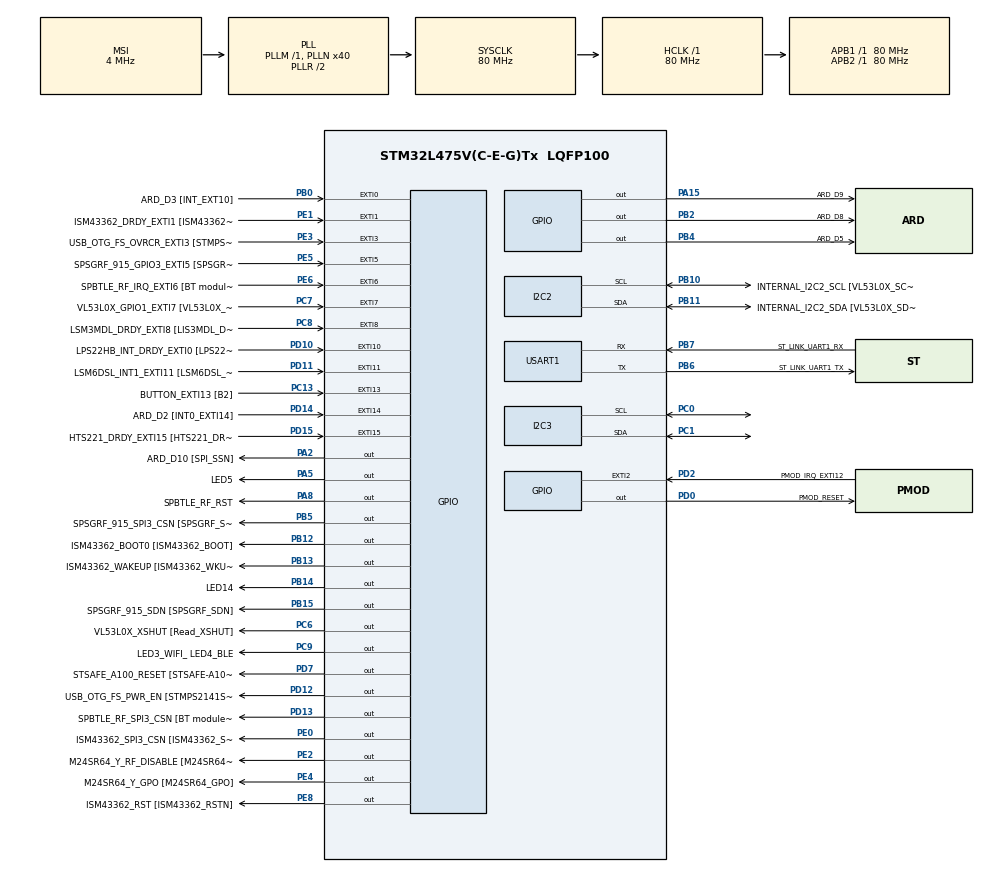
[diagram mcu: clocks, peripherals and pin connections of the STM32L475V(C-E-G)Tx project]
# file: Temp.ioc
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I2C2.Timing=0x10909CEC
I2C3.Timing=0x10909CEC
Mcu.Family=STM32L4
Mcu.Name=STM32L475V(C-E-G)Tx
Mcu.Package=LQFP100
NVIC.EXTI15_10_IRQn=true\:0\:0\:false\:false\:true\:true\:true
NVIC.EXTI9_5_IRQn=true\:0\:0\:false\:false\:true\:true\:true
NVIC.PriorityGroup=NVIC_PRIORITYGROUP_4
PA0.GPIO_Label=ARD_D1 [UART4_TX]
PA0.Signal=UART4_TX
PA1.GPIO_Label=ARD_D0 [UART4_RX]
PA1.Signal=UART4_RX
PA10.GPIO_Label=USB_OTG_FS_ID
PA10.Signal=USB_OTG_FS_ID
PA11.GPIO_Label=USB_OTG_FS_DM
PA11.Signal=USB_OTG_FS_DM
PA12.GPIO_Label=USB_OTG_FS_DP
PA12.Signal=USB_OTG_FS_DP
PA13\ (JTMS-SWDIO).GPIO_Label=SYS_JTMS_SWDIO
PA13\ (JTMS-SWDIO).Signal=SYS_JTMS-SWDIO
PA14\ (JTCK-SWCLK).GPIO_Label=SYS_JTCK_SWCLK
PA14\ (JTCK-SWCLK).Signal=SYS_JTCK-SWCLK
PA15\ (JTDI).GPIO_Label=ARD_D9
PA15\ (JTDI).Signal=GPIO_Output
PA2.GPIO_Label=ARD_D10 [SPI_SSN]
PA2.Signal=GPIO_Output
PA3.GPIO_Label=ARD_D4
PA3.Signal=S_TIM2_CH4
PA4.GPIO_Label=ARD_D7
PA4.Signal=ADCx_IN9
PA5.GPIO_Label=LED5
PA5.Signal=GPIO_Output
PA6.GPIO_Label=ARD_D12 [SPI1_MISO]
PA6.Signal=SPI1_MISO
PA7.GPIO_Label=ARD_D11 [SPI1_MOSI]
PA7.Signal=SPI1_MOSI
PA8.GPIO_Label=SPBTLE_RF_RST
PA8.Signal=GPIO_Output
PA9.GPIO_Label=USB_OTG_FS_VBUS [STMPS2141STR_OUT]
PA9.Signal=USB_OTG_FS_VBUS
PB0.GPIO_Label=ARD_D3 [INT_EXT10]
PB0.Signal=GPXTI0
PB1.GPIO_Label=ARD_D6 [ADC1_IN6]
PB1.Signal=ADCx_IN16
PB10.GPIO_Label=INTERNAL_I2C2_SCL [VL53L0X_SCL]
PB10.Mode=I2C
PB10.Signal=I2C2_SCL
PB11.GPIO_Label=INTERNAL_I2C2_SDA [VL53L0X_SDA]
PB11.Mode=I2C
PB11.Signal=I2C2_SDA
PB12.GPIO_Label=ISM43362_BOOT0 [ISM43362_BOOT]
PB12.Signal=GPIO_Output
PB13.GPIO_Label=ISM43362_WAKEUP [ISM43362_WKUP]
PB13.Signal=GPIO_Output
PB14.GPIO_Label=LED14
PB14.Signal=GPIO_Output
PB15.GPIO_Label=SPSGRF_915_SDN [SPSGRF_SDN]
PB15.Signal=GPIO_Output
PB2.GPIO_Label=ARD_D8
PB2.Signal=GPIO_Output
PB3\ (JTDO-TRACESWO).GPIO_Label=SYS_JTD0_SWO
PB3\ (JTDO-TRACESWO).Signal=SYS_JTDO-SWO
PB4\ (NJTRST).GPIO_Label=ARD_D5
PB4\ (NJTRST).Signal=GPIO_Output
PB5.GPIO_Label=SPSGRF_915_SPI3_CSN [SPSGRF_SPI_CS]
PB5.PinState=GPIO_PIN_SET
PB5.Signal=GPIO_Output
PB6.GPIO_Label=ST_LINK_UART1_TX
PB6.Mode=Asynchronous
PB6.Signal=USART1_TX
PB7.GPIO_Label=ST_LINK_UART1_RX
PB7.Mode=Asynchronous
PB7.Signal=USART1_RX
PB8.GPIO_Label=ARD_D15 [I2C1_SCL]
PB8.Signal=I2C1_SCL
PB9.GPIO_Label=ARD_D14 [I2C1_SDA]
PB9.Signal=I2C1_SDA
PC0.Mode=I2C
PC0.Signal=I2C3_SCL
PC1.Mode=I2C
PC1.Signal=I2C3_SDA
PC10.GPIO_Label=INTERNAL_SPI3_SCK [BT module_SPI_SCLK] [ISM43362_SCK]
PC10.Signal=SPI3_SCK
PC11.GPIO_Label=INTERNAL_SPI3_MISO [BT module_SPI_MISO] [ISM43362_MISO]
PC11.Signal=SPI3_MISO
PC12.GPIO_Label=INTERNAL_SPI3_MOSI [BT module_SPI_MOSI] [ISM43362_MOSI]
PC12.Signal=SPI3_MOSI
PC13.GPIO_Label=BUTTON_EXTI13 [B2]
PC13.GPIO_ModeDefaultEXTI=GPIO_MODE_IT_FALLING
PC13.Signal=GPXTI13
PC14-OSC32_IN\ (PC14).Signal=RCC_OSC32_IN
PC15-OSC32_OUT\ (PC15).Signal=RCC_OSC32_OUT
PC2.GPIO_Label=ARD_A3 [ADC]
PC2.Signal=ADCx_IN3
PC3.GPIO_Label=ARD_A2 [ADC]
PC3.Signal=ADCx_IN4
PC4.GPIO_Label=ARD_A1 [ADC]
PC4.Signal=ADCx_IN13
PC5.GPIO_Label=ARD_A0 [ADC]
PC5.Signal=ADCx_IN14
PC6.GPIO_Label=VL53L0X_XSHUT [Read_XSHUT]
PC6.Signal=GPIO_Output
PC7.GPIO_Label=VL53L0X_GPIO1_EXTI7 [VL53L0X_GPIO1]
PC7.Signal=GPXTI7
PC8.GPIO_Label=LSM3MDL_DRDY_EXTI8 [LIS3MDL_DRDY]
PC8.Signal=GPXTI8
PC9.GPIO_Label=LED3_WIFI_ LED4_BLE
PC9.Signal=GPIO_Output
PD0.GPIO_Label=PMOD_RESET
PD0.Signal=GPIO_Output
PD1.GPIO_Label=PMOD_SPI2_SCK
PD1.Signal=SPI2_SCK
PD10.GPIO_Label=LPS22HB_INT_DRDY_EXTI0 [LPS22HB_INT_DRDY] 
PD10.Signal=GPXTI10
PD11.GPIO_Label=LSM6DSL_INT1_EXTI11 [LSM6DSL_INT1]
PD11.Signal=GPXTI11
PD12.GPIO_Label=USB_OTG_FS_PWR_EN [STMPS2141STR_EN]
PD12.Signal=GPIO_Output
PD13.GPIO_Label=SPBTLE_RF_SPI3_CSN [BT module_SPI_CS]
PD13.PinState=GPIO_PIN_SET
PD13.Signal=GPIO_Output
PD14.GPIO_Label=ARD_D2 [INT0_EXTI14]
PD14.Signal=GPXTI14
PD15.GPIO_Label=HTS221_DRDY_EXTI15 [HTS221_DRDY]
PD15.Signal=GPXTI15
PD2.GPIO_Label=PMOD_IRQ_EXTI12
PD2.Signal=GPXTI2
PD3.GPIO_Label=PMOD_UART2_CTS
PD3.Signal=USART2_CTS
PD4.GPIO_Label=PMOD_UART2_RTS
PD4.Signal=USART2_RTS
PD5.GPIO_Label=PMOD_UART2_TX
PD5.Signal=USART2_TX
PD6.GPIO_Label=PMOD_UART2_RX
PD6.Signal=USART2_RX
PD7.GPIO_Label=STSAFE_A100_RESET [STSAFE-A100_RESET]
PD7.Signal=GPIO_Output
PD8.GPIO_Label=INTERNAL_UART3_TX [ISM43362_RX]
PD8.Signal=USART3_TX
PD9.GPIO_Label=INTERNAL_UART3_RX [ISM43362_TX]
PD9.Signal=USART3_RX
PE0.GPIO_Label=ISM43362_SPI3_CSN [ISM43362_SSN]
PE0.PinState=GPIO_PIN_SET
PE0.Signal=GPIO_Output
PE1.GPIO_Label=ISM43362_DRDY_EXTI1 [ISM43362_DATARDY]
PE1.Signal=GPXTI1
PE10.GPIO_Label=QUADSPI_CLK [MX25R6435F_SCLK]
PE10.Signal=QUADSPI_CLK
PE11.GPIO_Label=QUADSPI_NCS [MX25R6435F_SCLK]
PE11.Signal=QUADSPI_NCS
PE12.GPIO_Label=OQUADSPI_BK1_IO0 [MX25R6435F_IO0]
PE12.Signal=QUADSPI_BK1_IO0
PE13.GPIO_Label=QUADSPI_BK1_IO1 [MX25R6435F_IO1]
PE13.Signal=QUADSPI_BK1_IO1
PE14.GPIO_Label=QUAD_SPI_BK1_IO2 [MX25R6435F_IO2]
PE14.Signal=QUADSPI_BK1_IO2
PE15.GPIO_Label=QUAD_SPI_BK1_IO3 [MX25R6435F_IO3]
PE15.Signal=QUADSPI_BK1_IO3
PE2.GPIO_Label=M24SR64_Y_RF_DISABLE [M24SR64_RFDIS]
PE2.Signal=GPIO_Output
PE3.GPIO_Label=USB_OTG_FS_OVRCR_EXTI3 [STMPS2141STR_FAULT]
PE3.Signal=GPXTI3
PE4.GPIO_Label=M24SR64_Y_GPO [M24SR64_GPO]
PE4.Signal=GPIO_Output
PE5.GPIO_Label=SPSGRF_915_GPIO3_EXTI5 [SPSGRF_GPIO_3]
PE5.Signal=GPXTI5
PE6.GPIO_Label=SPBTLE_RF_IRQ_EXTI6 [BT module_SPI_IRQ]
PE6.Signal=GPXTI6
PE7.GPIO_Label=DFSDM1_DATIN2 [MP34DT01_DOUT]
PE7.Signal=S_DATAIN2DFSDM1
PE8.GPIO_Label=ISM43362_RST [ISM43362_RSTN]
PE8.Signal=GPIO_Output
PE9.GPIO_Label=DFSDM1_CKOUT [MP34DT01_CLK]
PE9.Signal=S_CKOUTDFSDM1
ProjectManager.HeapSize=0x200
ProjectManager.StackSize=0x400
ProjectManager.TargetToolchain=STM32CubeIDE
RCC.ADCFreq_Value=48000000
RCC.AHBFreq_Value=80000000
RCC.APB1Freq_Value=80000000
RCC.APB1TimFreq_Value=80000000
RCC.APB2Freq_Value=80000000
RCC.APB2TimFreq_Value=80000000
RCC.CortexFreq_Value=80000000
RCC.HCLKFreq_Value=80000000
RCC.HSE_VALUE=8000000
RCC.HSI_VALUE=16000000
RCC.LSE_VALUE=32768
RCC.MSI_VALUE=4000000
RCC.PLLN=40
RCC.PLLSAI1N=24
RCC.SYSCLKFreq_VALUE=80000000
RCC.SYSCLKSource=RCC_SYSCLKSOURCE_PLLCLK
RCC.USBFreq_Value=48000000
RCC.VCOOutputFreq_Value=160000000
SH.ADCx_IN13.0=ADC1_IN13
SH.ADCx_IN14.0=ADC1_IN14
SH.ADCx_IN16.0=ADC1_IN16
SH.ADCx_IN3.0=ADC1_IN3
SH.ADCx_IN4.0=ADC1_IN4
SH.ADCx_IN9.0=ADC1_IN9
SH.S_CKOUTDFSDM1.0=DFSDM1_CKOUT
SH.S_DATAIN2DFSDM1.0=DFSDM1_DATIN2
SH.S_TIM2_CH4.0=TIM2_CH4
USART1.VirtualMode-Asynchronous=VM_ASYNC
board=B-L475E-IOT01A1

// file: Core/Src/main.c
/* USER CODE BEGIN Header */
/**
  ******************************************************************************
  * @file           : main.c
  * @brief          : Main program body
  ******************************************************************************
  * @attention
  *
  * <h2><center>&copy; Copyright (c) 2022 STMicroelectronics.
  * All rights reserved.</center></h2>
  *
  * This software component is licensed by ST under BSD 3-Clause license,
  * the "License"; You may not use this file except in compliance with the
  * License. You may obtain a copy of the License at:
  *                        opensource.org/licenses/BSD-3-Clause
  *
  ******************************************************************************
  */
/* USER CODE END Header */
#include "main.h"

/* USER CODE BEGIN Includes */
#include "stdio.h"
#include "lcd16x2_i2c.h"
#include "stm32l475e_iot01.h"
#include "stm32l475e_iot01_tsensor.h"
#include "stm32l475e_iot01_hsensor.h"
#include "math.h"
/* USER CODE END Includes */

I2C_HandleTypeDef hi2c2;
I2C_HandleTypeDef hi2c3;

UART_HandleTypeDef huart1;

/* USER CODE BEGIN PV */

float temp_value = 0,humid_value=0,pur_value=0; // Measured temperature value
char str_tmp[100] = ""; // Formatted message to display the temperature value
uint8_t msg1[] = "****** Temperature values measurement ******\n\n\r";
uint8_t msg2[] = "=====> Initialize Temperature/Humidity sensor HTS221,\nInitializePressure LPS22HB\r\n";
uint8_t msg3[] = "=====> Temperature sensor HTS221 initialized \r\n";
uint8_t msg4[] = "=====> Humidity sensor HTS221 initialized \r\n";
uint8_t msg5[] = "=====> Pressure sensor LPS22HB initialized \r\n";

/* USER CODE END PV */

void SystemClock_Config(void);
static void MX_GPIO_Init(void);
static void MX_I2C2_Init(void);
static void MX_USART1_UART_Init(void);
static void MX_I2C3_Init(void);

int main(void)
{

  /* MCU Configuration--------------------------------------------------------*/

  /* Reset of all peripherals, Initializes the Flash interface and the Systick. */
  HAL_Init();

  /* Configure the system clock */
  SystemClock_Config();

  /* Initialize all configured peripherals */
  MX_GPIO_Init();
  MX_I2C2_Init();
  MX_USART1_UART_Init();
  MX_I2C3_Init();
  /* USER CODE BEGIN 2 */

  if(lcd16x2_i2c_init(&hi2c3))
  {
  HAL_GPIO_WritePin(LED14_GPIO_Port, LED14_Pin, GPIO_PIN_SET);
  }
  //int a=10;
  //lcd16x2_i2c_printf("Hello World!");
  //lcd16x2_i2c_printf("A= %d",a);
  //lcd16x2_i2c_printf

  HAL_UART_Transmit(&huart1,msg1,sizeof(msg1),1000);
  HAL_UART_Transmit(&huart1,msg2,sizeof(msg2),1000);
  BSP_TSENSOR_Init();
  HAL_UART_Transmit(&huart1,msg3,sizeof(msg3),1000);
  BSP_HSENSOR_Init();
  HAL_UART_Transmit(&huart1,msg4,sizeof(msg4),1000);
  BSP_PSENSOR_Init();
  HAL_UART_Transmit(&huart1,msg5,sizeof(msg5),1000);

  /* USER CODE END 2 */

  /* Infinite loop */
  while (1)
  {

    /* USER CODE BEGIN 3 */
	  temp_value = BSP_TSENSOR_ReadTemp();
	  int tmpInt1 = temp_value;
	  float tmpFrac = temp_value - tmpInt1;
	  int tmpInt2 = trunc(tmpFrac * 100);
	  lcd16x2_i2c_setCursor(0, 0);
	  lcd16x2_i2c_printf("T=%d.02", tmpInt2);
	  //snprintf(str_tmp,100,"\n TEMPERATURE = %d.%02d  ", tmpInt1, tmpInt2);
	  //HAL_UART_Transmit(&huart1,( uint8_t * )str_tmp,sizeof(str_tmp),1000);
	  //HAL_Delay(1000);

	  humid_value = BSP_HSENSOR_ReadHumidity();
	  int humInt1 = humid_value;
	  float humFrac = humid_value - humInt1;
	  int humInt2 = trunc(humFrac * 100);
	  lcd16x2_i2c_setCursor(0, 8);
	  lcd16x2_i2c_printf(" H=%d.02", humInt2);
	 // snprintf(str_tmp,100," HUMIDITY = %d.%02d  ", humInt1, humInt2);
	  //snprintf(str_tmp,100," HUMIDITY = %d.%02d  ", humInt1, humInt2);
	  //HAL_UART_Transmit(&huart1,( uint8_t * )str_tmp,sizeof(str_tmp),1000);
	 // HAL_Delay(1000);

	  pur_value = BSP_PSENSOR_ReadPressure();
	  int purInt1 = pur_value;
	  float purFrac = pur_value - purInt1;
	  int purInt2 = trunc(purFrac * 100);
	  //snprintf(str_tmp,100," Pressure = %d.%02d", purInt1, purInt2);
	  lcd16x2_i2c_setCursor(1, 0);
	  lcd16x2_i2c_printf("P=%d.02", purInt1);
	  //HAL_UART_Transmit(&huart1,( uint8_t * )str_tmp,sizeof(str_tmp),1000);
	  HAL_Delay(1000);
	  lcd16x2_i2c_1stLine();
  }
  /* USER CODE END 3 */
}

void SystemClock_Config(void)
{
  RCC_OscInitTypeDef RCC_OscInitStruct = {0};
  RCC_ClkInitTypeDef RCC_ClkInitStruct = {0};

  /** Configure the main internal regulator output voltage
  */
  if (HAL_PWREx_ControlVoltageScaling(PWR_REGULATOR_VOLTAGE_SCALE1) != HAL_OK)
  {
    Error_Handler();
  }
  /** Initializes the RCC Oscillators according to the specified parameters
  * in the RCC_OscInitTypeDef structure.
  */
  RCC_OscInitStruct.OscillatorType = RCC_OSCILLATORTYPE_MSI;
  RCC_OscInitStruct.MSIState = RCC_MSI_ON;
  RCC_OscInitStruct.MSICalibrationValue = 0;
  RCC_OscInitStruct.MSIClockRange = RCC_MSIRANGE_6;
  RCC_OscInitStruct.PLL.PLLState = RCC_PLL_ON;
  RCC_OscInitStruct.PLL.PLLSource = RCC_PLLSOURCE_MSI;
  RCC_OscInitStruct.PLL.PLLM = 1;
  RCC_OscInitStruct.PLL.PLLN = 40;
  RCC_OscInitStruct.PLL.PLLP = RCC_PLLP_DIV7;
  RCC_OscInitStruct.PLL.PLLQ = RCC_PLLQ_DIV2;
  RCC_OscInitStruct.PLL.PLLR = RCC_PLLR_DIV2;
  if (HAL_RCC_OscConfig(&RCC_OscInitStruct) != HAL_OK)
  {
    Error_Handler();
  }
  /** Initializes the CPU, AHB and APB buses clocks
  */
  RCC_ClkInitStruct.ClockType = RCC_CLOCKTYPE_HCLK|RCC_CLOCKTYPE_SYSCLK
                              |RCC_CLOCKTYPE_PCLK1|RCC_CLOCKTYPE_PCLK2;
  RCC_ClkInitStruct.SYSCLKSource = RCC_SYSCLKSOURCE_PLLCLK;
  RCC_ClkInitStruct.AHBCLKDivider = RCC_SYSCLK_DIV1;
  RCC_ClkInitStruct.APB1CLKDivider = RCC_HCLK_DIV1;
  RCC_ClkInitStruct.APB2CLKDivider = RCC_HCLK_DIV1;

  if (HAL_RCC_ClockConfig(&RCC_ClkInitStruct, FLASH_LATENCY_4) != HAL_OK)
  {
    Error_Handler();
  }
}

static void MX_I2C2_Init(void)
{

  hi2c2.Instance = I2C2;
  hi2c2.Init.Timing = 0x10909CEC;
  hi2c2.Init.OwnAddress1 = 0;
  hi2c2.Init.AddressingMode = I2C_ADDRESSINGMODE_7BIT;
  hi2c2.Init.DualAddressMode = I2C_DUALADDRESS_DISABLE;
  hi2c2.Init.OwnAddress2 = 0;
  hi2c2.Init.OwnAddress2Masks = I2C_OA2_NOMASK;
  hi2c2.Init.GeneralCallMode = I2C_GENERALCALL_DISABLE;
  hi2c2.Init.NoStretchMode = I2C_NOSTRETCH_DISABLE;
  if (HAL_I2C_Init(&hi2c2) != HAL_OK)
  {
    Error_Handler();
  }
  /** Configure Analogue filter
  */
  if (HAL_I2CEx_ConfigAnalogFilter(&hi2c2, I2C_ANALOGFILTER_ENABLE) != HAL_OK)
  {
    Error_Handler();
  }
  /** Configure Digital filter
  */
  if (HAL_I2CEx_ConfigDigitalFilter(&hi2c2, 0) != HAL_OK)
  {
    Error_Handler();
  }

}

static void MX_I2C3_Init(void)
{

  hi2c3.Instance = I2C3;
  hi2c3.Init.Timing = 0x10909CEC;
  hi2c3.Init.OwnAddress1 = 0;
  hi2c3.Init.AddressingMode = I2C_ADDRESSINGMODE_7BIT;
  hi2c3.Init.DualAddressMode = I2C_DUALADDRESS_DISABLE;
  hi2c3.Init.OwnAddress2 = 0;
  hi2c3.Init.OwnAddress2Masks = I2C_OA2_NOMASK;
  hi2c3.Init.GeneralCallMode = I2C_GENERALCALL_DISABLE;
  hi2c3.Init.NoStretchMode = I2C_NOSTRETCH_DISABLE;
  if (HAL_I2C_Init(&hi2c3) != HAL_OK)
  {
    Error_Handler();
  }
  /** Configure Analogue filter
  */
  if (HAL_I2CEx_ConfigAnalogFilter(&hi2c3, I2C_ANALOGFILTER_ENABLE) != HAL_OK)
  {
    Error_Handler();
  }
  /** Configure Digital filter
  */
  if (HAL_I2CEx_ConfigDigitalFilter(&hi2c3, 0) != HAL_OK)
  {
    Error_Handler();
  }

}

static void MX_USART1_UART_Init(void)
{

  huart1.Instance = USART1;
  huart1.Init.BaudRate = 115200;
  huart1.Init.WordLength = UART_WORDLENGTH_8B;
  huart1.Init.StopBits = UART_STOPBITS_1;
  huart1.Init.Parity = UART_PARITY_NONE;
  huart1.Init.Mode = UART_MODE_TX_RX;
  huart1.Init.HwFlowCtl = UART_HWCONTROL_NONE;
  huart1.Init.OverSampling = UART_OVERSAMPLING_16;
  huart1.Init.OneBitSampling = UART_ONE_BIT_SAMPLE_DISABLE;
  huart1.AdvancedInit.AdvFeatureInit = UART_ADVFEATURE_NO_INIT;
  if (HAL_UART_Init(&huart1) != HAL_OK)
  {
    Error_Handler();
  }

}

static void MX_GPIO_Init(void)
{
  GPIO_InitTypeDef GPIO_InitStruct = {0};

  /* GPIO Ports Clock Enable */
  __HAL_RCC_GPIOE_CLK_ENABLE();
  __HAL_RCC_GPIOC_CLK_ENABLE();
  __HAL_RCC_GPIOA_CLK_ENABLE();
  __HAL_RCC_GPIOB_CLK_ENABLE();
  __HAL_RCC_GPIOD_CLK_ENABLE();

  /*Configure GPIO pin Output Level */
  HAL_GPIO_WritePin(GPIOE, M24SR64_Y_RF_DISABLE_Pin|M24SR64_Y_GPO_Pin|ISM43362_RST_Pin, GPIO_PIN_RESET);

  /*Configure GPIO pin Output Level */
  HAL_GPIO_WritePin(GPIOA, ARD_D10_Pin|LED5_Pin|SPBTLE_RF_RST_Pin|ARD_D9_Pin, GPIO_PIN_RESET);

  /*Configure GPIO pin Output Level */
  HAL_GPIO_WritePin(GPIOB, ARD_D8_Pin|ISM43362_BOOT0_Pin|ISM43362_WAKEUP_Pin|LED14_Pin
                          |SPSGRF_915_SDN_Pin|ARD_D5_Pin, GPIO_PIN_RESET);

  /*Configure GPIO pin Output Level */
  HAL_GPIO_WritePin(GPIOD, USB_OTG_FS_PWR_EN_Pin|PMOD_RESET_Pin|STSAFE_A100_RESET_Pin, GPIO_PIN_RESET);

  /*Configure GPIO pin Output Level */
  HAL_GPIO_WritePin(SPBTLE_RF_SPI3_CSN_GPIO_Port, SPBTLE_RF_SPI3_CSN_Pin, GPIO_PIN_SET);

  /*Configure GPIO pin Output Level */
  HAL_GPIO_WritePin(GPIOC, VL53L0X_XSHUT_Pin|LED3_WIFI__LED4_BLE_Pin, GPIO_PIN_RESET);

  /*Configure GPIO pin Output Level */
  HAL_GPIO_WritePin(SPSGRF_915_SPI3_CSN_GPIO_Port, SPSGRF_915_SPI3_CSN_Pin, GPIO_PIN_SET);

  /*Configure GPIO pin Output Level */
  HAL_GPIO_WritePin(ISM43362_SPI3_CSN_GPIO_Port, ISM43362_SPI3_CSN_Pin, GPIO_PIN_SET);

  /*Configure GPIO pins : M24SR64_Y_RF_DISABLE_Pin M24SR64_Y_GPO_Pin ISM43362_RST_Pin ISM43362_SPI3_CSN_Pin */
  GPIO_InitStruct.Pin = M24SR64_Y_RF_DISABLE_Pin|M24SR64_Y_GPO_Pin|ISM43362_RST_Pin|ISM43362_SPI3_CSN_Pin;
  GPIO_InitStruct.Mode = GPIO_MODE_OUTPUT_PP;
  GPIO_InitStruct.Pull = GPIO_NOPULL;
  GPIO_InitStruct.Speed = GPIO_SPEED_FREQ_LOW;
  HAL_GPIO_Init(GPIOE, &GPIO_InitStruct);

  /*Configure GPIO pins : USB_OTG_FS_OVRCR_EXTI3_Pin SPSGRF_915_GPIO3_EXTI5_Pin SPBTLE_RF_IRQ_EXTI6_Pin ISM43362_DRDY_EXTI1_Pin */
  GPIO_InitStruct.Pin = USB_OTG_FS_OVRCR_EXTI3_Pin|SPSGRF_915_GPIO3_EXTI5_Pin|SPBTLE_RF_IRQ_EXTI6_Pin|ISM43362_DRDY_EXTI1_Pin;
  GPIO_InitStruct.Mode = GPIO_MODE_IT_RISING;
  GPIO_InitStruct.Pull = GPIO_NOPULL;
  HAL_GPIO_Init(GPIOE, &GPIO_InitStruct);

  /*Configure GPIO pin : BUTTON_EXTI13_Pin */
  GPIO_InitStruct.Pin = BUTTON_EXTI13_Pin;
  GPIO_InitStruct.Mode = GPIO_MODE_IT_FALLING;
  GPIO_InitStruct.Pull = GPIO_NOPULL;
  HAL_GPIO_Init(BUTTON_EXTI13_GPIO_Port, &GPIO_InitStruct);

  /*Configure GPIO pins : ARD_A3_Pin ARD_A2_Pin ARD_A1_Pin ARD_A0_Pin */
  GPIO_InitStruct.Pin = ARD_A3_Pin|ARD_A2_Pin|ARD_A1_Pin|ARD_A0_Pin;
  GPIO_InitStruct.Mode = GPIO_MODE_ANALOG_ADC_CONTROL;
  GPIO_InitStruct.Pull = GPIO_NOPULL;
  HAL_GPIO_Init(GPIOC, &GPIO_InitStruct);

  /*Configure GPIO pins : ARD_D1_Pin ARD_D0_Pin */
  GPIO_InitStruct.Pin = ARD_D1_Pin|ARD_D0_Pin;
  GPIO_InitStruct.Mode = GPIO_MODE_AF_PP;
  GPIO_InitStruct.Pull = GPIO_NOPULL;
  GPIO_InitStruct.Speed = GPIO_SPEED_FREQ_VERY_HIGH;
  GPIO_InitStruct.Alternate = GPIO_AF8_UART4;
  HAL_GPIO_Init(GPIOA, &GPIO_InitStruct);

  /*Configure GPIO pins : ARD_D10_Pin LED5_Pin SPBTLE_RF_RST_Pin ARD_D9_Pin */
  GPIO_InitStruct.Pin = ARD_D10_Pin|LED5_Pin|SPBTLE_RF_RST_Pin|ARD_D9_Pin;
  GPIO_InitStruct.Mode = GPIO_MODE_OUTPUT_PP;
  GPIO_InitStruct.Pull = GPIO_NOPULL;
  GPIO_InitStruct.Speed = GPIO_SPEED_FREQ_LOW;
  HAL_GPIO_Init(GPIOA, &GPIO_InitStruct);

  /*Configure GPIO pin : ARD_D4_Pin */
  GPIO_InitStruct.Pin = ARD_D4_Pin;
  GPIO_InitStruct.Mode = GPIO_MODE_AF_PP;
  GPIO_InitStruct.Pull = GPIO_NOPULL;
  GPIO_InitStruct.Speed = GPIO_SPEED_FREQ_LOW;
  GPIO_InitStruct.Alternate = GPIO_AF1_TIM2;
  HAL_GPIO_Init(ARD_D4_GPIO_Port, &GPIO_InitStruct);

  /*Configure GPIO pin : ARD_D7_Pin */
  GPIO_InitStruct.Pin = ARD_D7_Pin;
  GPIO_InitStruct.Mode = GPIO_MODE_ANALOG_ADC_CONTROL;
  GPIO_InitStruct.Pull = GPIO_NOPULL;
  HAL_GPIO_Init(ARD_D7_GPIO_Port, &GPIO_InitStruct);

  /*Configure GPIO pins : ARD_D12_Pin ARD_D11_Pin */
  GPIO_InitStruct.Pin = ARD_D12_Pin|ARD_D11_Pin;
  GPIO_InitStruct.Mode = GPIO_MODE_AF_PP;
  GPIO_InitStruct.Pull = GPIO_NOPULL;
  GPIO_InitStruct.Speed = GPIO_SPEED_FREQ_VERY_HIGH;
  GPIO_InitStruct.Alternate = GPIO_AF5_SPI1;
  HAL_GPIO_Init(GPIOA, &GPIO_InitStruct);

  /*Configure GPIO pin : ARD_D3_Pin */
  GPIO_InitStruct.Pin = ARD_D3_Pin;
  GPIO_InitStruct.Mode = GPIO_MODE_IT_RISING;
  GPIO_InitStruct.Pull = GPIO_NOPULL;
  HAL_GPIO_Init(ARD_D3_GPIO_Port, &GPIO_InitStruct);

  /*Configure GPIO pin : ARD_D6_Pin */
  GPIO_InitStruct.Pin = ARD_D6_Pin;
  GPIO_InitStruct.Mode = GPIO_MODE_ANALOG_ADC_CONTROL;
  GPIO_InitStruct.Pull = GPIO_NOPULL;
  HAL_GPIO_Init(ARD_D6_GPIO_Port, &GPIO_InitStruct);

  /*Configure GPIO pins : ARD_D8_Pin ISM43362_BOOT0_Pin ISM43362_WAKEUP_Pin LED14_Pin
                           SPSGRF_915_SDN_Pin ARD_D5_Pin SPSGRF_915_SPI3_CSN_Pin */
  GPIO_InitStruct.Pin = ARD_D8_Pin|ISM43362_BOOT0_Pin|ISM43362_WAKEUP_Pin|LED14_Pin
                          |SPSGRF_915_SDN_Pin|ARD_D5_Pin|SPSGRF_915_SPI3_CSN_Pin;
  GPIO_InitStruct.Mode = GPIO_MODE_OUTPUT_PP;
  GPIO_InitStruct.Pull = GPIO_NOPULL;
  GPIO_InitStruct.Speed = GPIO_SPEED_FREQ_LOW;
  HAL_GPIO_Init(GPIOB, &GPIO_InitStruct);

  /*Configure GPIO pins : DFSDM1_DATIN2_Pin DFSDM1_CKOUT_Pin */
  GPIO_InitStruct.Pin = DFSDM1_DATIN2_Pin|DFSDM1_CKOUT_Pin;
  GPIO_InitStruct.Mode = GPIO_MODE_AF_PP;
  GPIO_InitStruct.Pull = GPIO_NOPULL;
  GPIO_InitStruct.Speed = GPIO_SPEED_FREQ_LOW;
  GPIO_InitStruct.Alternate = GPIO_AF6_DFSDM1;
  HAL_GPIO_Init(GPIOE, &GPIO_InitStruct);

  /*Configure GPIO pins : QUADSPI_CLK_Pin QUADSPI_NCS_Pin OQUADSPI_BK1_IO0_Pin QUADSPI_BK1_IO1_Pin
                           QUAD_SPI_BK1_IO2_Pin QUAD_SPI_BK1_IO3_Pin */
  GPIO_InitStruct.Pin = QUADSPI_CLK_Pin|QUADSPI_NCS_Pin|OQUADSPI_BK1_IO0_Pin|QUADSPI_BK1_IO1_Pin
                          |QUAD_SPI_BK1_IO2_Pin|QUAD_SPI_BK1_IO3_Pin;
  GPIO_InitStruct.Mode = GPIO_MODE_AF_PP;
  GPIO_InitStruct.Pull = GPIO_NOPULL;
  GPIO_InitStruct.Speed = GPIO_SPEED_FREQ_VERY_HIGH;
  GPIO_InitStruct.Alternate = GPIO_AF10_QUADSPI;
  HAL_GPIO_Init(GPIOE, &GPIO_InitStruct);

  /*Configure GPIO pins : INTERNAL_UART3_TX_Pin INTERNAL_UART3_RX_Pin */
  GPIO_InitStruct.Pin = INTERNAL_UART3_TX_Pin|INTERNAL_UART3_RX_Pin;
  GPIO_InitStruct.Mode = GPIO_MODE_AF_PP;
  GPIO_InitStruct.Pull = GPIO_NOPULL;
  GPIO_InitStruct.Speed = GPIO_SPEED_FREQ_VERY_HIGH;
  GPIO_InitStruct.Alternate = GPIO_AF7_USART3;
  HAL_GPIO_Init(GPIOD, &GPIO_InitStruct);

  /*Configure GPIO pins : LPS22HB_INT_DRDY_EXTI0_Pin LSM6DSL_INT1_EXTI11_Pin ARD_D2_Pin HTS221_DRDY_EXTI15_Pin
                           PMOD_IRQ_EXTI12_Pin */
  GPIO_InitStruct.Pin = LPS22HB_INT_DRDY_EXTI0_Pin|LSM6DSL_INT1_EXTI11_Pin|ARD_D2_Pin|HTS221_DRDY_EXTI15_Pin
                          |PMOD_IRQ_EXTI12_Pin;
  GPIO_InitStruct.Mode = GPIO_MODE_IT_RISING;
  GPIO_InitStruct.Pull = GPIO_NOPULL;
  HAL_GPIO_Init(GPIOD, &GPIO_InitStruct);

  /*Configure GPIO pins : USB_OTG_FS_PWR_EN_Pin SPBTLE_RF_SPI3_CSN_Pin PMOD_RESET_Pin STSAFE_A100_RESET_Pin */
  GPIO_InitStruct.Pin = USB_OTG_FS_PWR_EN_Pin|SPBTLE_RF_SPI3_CSN_Pin|PMOD_RESET_Pin|STSAFE_A100_RESET_Pin;
  GPIO_InitStruct.Mode = GPIO_MODE_OUTPUT_PP;
  GPIO_InitStruct.Pull = GPIO_NOPULL;
  GPIO_InitStruct.Speed = GPIO_SPEED_FREQ_LOW;
  HAL_GPIO_Init(GPIOD, &GPIO_InitStruct);

  /*Configure GPIO pins : VL53L0X_XSHUT_Pin LED3_WIFI__LED4_BLE_Pin */
  GPIO_InitStruct.Pin = VL53L0X_XSHUT_Pin|LED3_WIFI__LED4_BLE_Pin;
  GPIO_InitStruct.Mode = GPIO_MODE_OUTPUT_PP;
  GPIO_InitStruct.Pull = GPIO_NOPULL;
  GPIO_InitStruct.Speed = GPIO_SPEED_FREQ_LOW;
  HAL_GPIO_Init(GPIOC, &GPIO_InitStruct);

  /*Configure GPIO pins : VL53L0X_GPIO1_EXTI7_Pin LSM3MDL_DRDY_EXTI8_Pin */
  GPIO_InitStruct.Pin = VL53L0X_GPIO1_EXTI7_Pin|LSM3MDL_DRDY_EXTI8_Pin;
  GPIO_InitStruct.Mode = GPIO_MODE_IT_RISING;
  GPIO_InitStruct.Pull = GPIO_NOPULL;
  HAL_GPIO_Init(GPIOC, &GPIO_InitStruct);

  /*Configure GPIO pin : USB_OTG_FS_VBUS_Pin */
  GPIO_InitStruct.Pin = USB_OTG_FS_VBUS_Pin;
  GPIO_InitStruct.Mode = GPIO_MODE_INPUT;
  GPIO_InitStruct.Pull = GPIO_NOPULL;
  HAL_GPIO_Init(USB_OTG_FS_VBUS_GPIO_Port, &GPIO_InitStruct);

  /*Configure GPIO pins : USB_OTG_FS_ID_Pin USB_OTG_FS_DM_Pin USB_OTG_FS_DP_Pin */
  GPIO_InitStruct.Pin = USB_OTG_FS_ID_Pin|USB_OTG_FS_DM_Pin|USB_OTG_FS_DP_Pin;
  GPIO_InitStruct.Mode = GPIO_MODE_AF_PP;
  GPIO_InitStruct.Pull = GPIO_NOPULL;
  GPIO_InitStruct.Speed = GPIO_SPEED_FREQ_VERY_HIGH;
  GPIO_InitStruct.Alternate = GPIO_AF10_OTG_FS;
  HAL_GPIO_Init(GPIOA, &GPIO_InitStruct);

  /*Configure GPIO pins : INTERNAL_SPI3_SCK_Pin INTERNAL_SPI3_MISO_Pin INTERNAL_SPI3_MOSI_Pin */
  GPIO_InitStruct.Pin = INTERNAL_SPI3_SCK_Pin|INTERNAL_SPI3_MISO_Pin|INTERNAL_SPI3_MOSI_Pin;
  GPIO_InitStruct.Mode = GPIO_MODE_AF_PP;
  GPIO_InitStruct.Pull = GPIO_NOPULL;
  GPIO_InitStruct.Speed = GPIO_SPEED_FREQ_VERY_HIGH;
  GPIO_InitStruct.Alternate = GPIO_AF6_SPI3;
  HAL_GPIO_Init(GPIOC, &GPIO_InitStruct);

  /*Configure GPIO pin : PMOD_SPI2_SCK_Pin */
  GPIO_InitStruct.Pin = PMOD_SPI2_SCK_Pin;
  GPIO_InitStruct.Mode = GPIO_MODE_AF_PP;
  GPIO_InitStruct.Pull = GPIO_NOPULL;
  GPIO_InitStruct.Speed = GPIO_SPEED_FREQ_VERY_HIGH;
  GPIO_InitStruct.Alternate = GPIO_AF5_SPI2;
  HAL_GPIO_Init(PMOD_SPI2_SCK_GPIO_Port, &GPIO_InitStruct);

  /*Configure GPIO pins : PMOD_UART2_CTS_Pin PMOD_UART2_RTS_Pin PMOD_UART2_TX_Pin PMOD_UART2_RX_Pin */
  GPIO_InitStruct.Pin = PMOD_UART2_CTS_Pin|PMOD_UART2_RTS_Pin|PMOD_UART2_TX_Pin|PMOD_UART2_RX_Pin;
  GPIO_InitStruct.Mode = GPIO_MODE_AF_PP;
  GPIO_InitStruct.Pull = GPIO_NOPULL;
  GPIO_InitStruct.Speed = GPIO_SPEED_FREQ_VERY_HIGH;
  GPIO_InitStruct.Alternate = GPIO_AF7_USART2;
  HAL_GPIO_Init(GPIOD, &GPIO_InitStruct);

  /*Configure GPIO pins : ARD_D15_Pin ARD_D14_Pin */
  GPIO_InitStruct.Pin = ARD_D15_Pin|ARD_D14_Pin;
  GPIO_InitStruct.Mode = GPIO_MODE_AF_OD;
  GPIO_InitStruct.Pull = GPIO_NOPULL;
  GPIO_InitStruct.Speed = GPIO_SPEED_FREQ_VERY_HIGH;
  GPIO_InitStruct.Alternate = GPIO_AF4_I2C1;
  HAL_GPIO_Init(GPIOB, &GPIO_InitStruct);

  /* EXTI interrupt init*/
  HAL_NVIC_SetPriority(EXTI9_5_IRQn, 0, 0);
  HAL_NVIC_EnableIRQ(EXTI9_5_IRQn);

  HAL_NVIC_SetPriority(EXTI15_10_IRQn, 0, 0);
  HAL_NVIC_EnableIRQ(EXTI15_10_IRQn);

}

void Error_Handler(void)
{
  __disable_irq();
  while (1)
  {
  }
}

/************************ (C) COPYRIGHT STMicroelectronics *****END OF FILE****/
